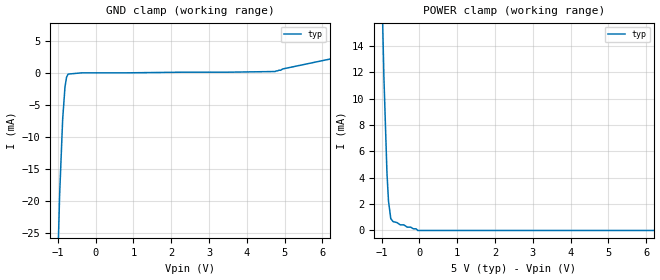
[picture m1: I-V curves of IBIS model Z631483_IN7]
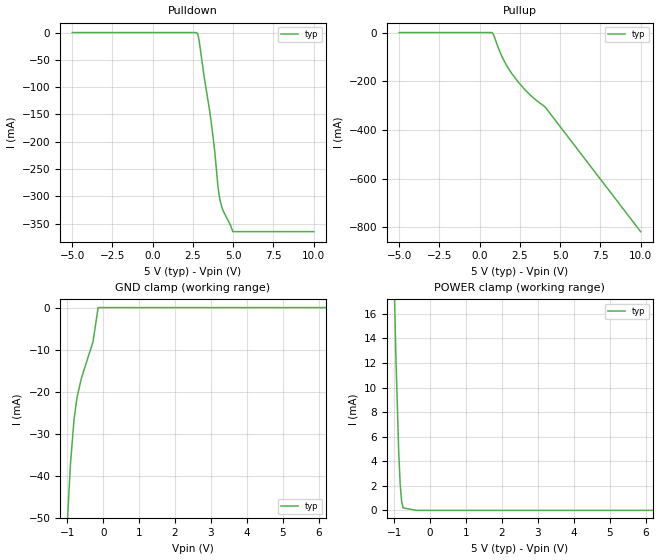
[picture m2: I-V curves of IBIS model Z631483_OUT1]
| YOU ARE ONLY AUTHORIZED TO USE THIS SOFTWARE
| ACCORDING TO LICENSOR'S LICENSE RESTRICTIONS.
[IBIS Ver] 3.1
[File Name] mc10ep89d_50.ibs
[File Rev] 2.0
[Source] Measured and created by ICX Technology
[Date] Wednesday 11/22/00 2:13:51 PM
[Copyright]
| (C) COPYRIGHT 1993-2000
| MENTOR GRAPHICS CORPORATION
| ICX STANDARD LIBRARY, ICX PROJECT MODELING,
| ICX CUSTOM MODELING, ICX VENDOR MODEL
| ALL RIGHTS RESERVED.
| THE FOLLOWING ARE TRADEMARKS OR SERVICE MARKS OF
| MENTOR GRAPHICS CORPORATION:ICX (R), ICX STANDARD
| LIBRARY(R), ICX PROJECT MODELING(R), ICX CUSTOM
| MODELING(R), qualityIBIS(TM), MODELVIEWER(TM),
| AND MODELEDITOR(TM)
| ALL COPIES OF SOFTWARE, INCLUDING BUT NOT LIMITED TO
| ANY MODIFICATIONS, ENHANCEMENTS OR DERIVATIVE WORKS,
| MUST CONTAIN ALL MENTOR GRAPHICS CORPORATION'S
| NOTICES AND LEGENDS, INCLUDING THOSE EMBEDDED IN
| SOFTWARE AND THOSE AFFIXED TO SOFTWARE MEDIUM
| AND CONTAINER, AS RECEIVED FROM MENTOR GRAPHICS
| CORPORATION.
|  ZAP Model Builder 2.8
[Component] MC10EP89D_50
[Manufacturer] OnSemiconductor
[Package]
| variable   typ   min   max
R_pkg  .152ohms NA NA
L_pkg  2.714nH NA NA
C_pkg  .364pF NA NA
[Pin] signal_name  model_name  R_pin  L_pin C_pin
1 Q0 Z631483_OUT1 .154 2.924n .374p
2 _Q0 Z631483_OUT1 .15 2.504n .354p
3 Q1 Z631483_OUT1 .15 2.504n .354p
4 _Q1 Z631483_OUT1 .154 2.924n .374p
5 VEE POWER .154 2.924n .374p
6 _D Z631483_IN7 .15 2.504n .354p
7 D Z631483_IN7 .15 2.504n .354p
8 VCC POWER .154 2.924n .374p
[Diff Pin] inv_pin vdiff tdelay_typ tdelay_min tdelay_max
1 2 NA .005ns NA .02ns
3 4 NA .005ns NA .02ns
7 6 800mv NA NA NA
| Models and submodels in the file (2): Z631483_IN7 (Input_ECL), Z631483_OUT1 (Output_ECL)
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| (C) COPYRIGHT 1993-2000
| MENTOR GRAPHICS CORPORATION
| ICX STANDARD LIBRARY, ICX PROJECT MODELING,
| ICX CUSTOM MODELING, ICX VENDOR MODEL
| ALL RIGHTS RESERVED.
| THE FOLLOWING ARE TRADEMARKS OR SERVICE MARKS OF
| MENTOR GRAPHICS CORPORATION:ICX (R), ICX STANDARD
| LIBRARY(R), ICX PROJECT MODELING(R), ICX CUSTOM
| MODELING(R), qualityIBIS(TM), MODELVIEWER(TM),
| AND MODELEDITOR(TM)
| ALL COPIES OF SOFTWARE, INCLUDING BUT NOT LIMITED TO
| ANY MODIFICATIONS, ENHANCEMENTS OR DERIVATIVE WORKS,
| MUST CONTAIN ALL MENTOR GRAPHICS CORPORATION'S
| NOTICES AND LEGENDS, INCLUDING THOSE EMBEDDED IN
| SOFTWARE AND THOSE AFFIXED TO SOFTWARE MEDIUM
| AND CONTAINER, AS RECEIVED FROM MENTOR GRAPHICS
| CORPORATION.
| Model Application Version 1.89 2/18/99.
[Model] Z631483_IN7
Model_type Input_ECL
Vinl = 3.520V
Vinh = 3.870V
C_comp 3.000pF NA NA
| variable typ   min   max
[Voltage Range] 5.000V NA NA
[GND Clamp Reference] 0.000V NA NA
[POWER Clamp Reference] 5.000V NA NA
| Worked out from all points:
|   GND clamp passes 1 mA (typ) near -0.78 V on its own axis
|   POWER clamp passes 1 mA (typ) near -0.76 V on its own axis
[GND Clamp]
-5V       -1.143A    NA         NA
-1.074V   -45.4mA    NA         NA
-953mV    -19.1mA    NA         NA
-872mV    -7.2mA     NA         NA
-811mV    -2.2mA     NA         NA
-770mV    -700uA     NA         NA
-730mV    -200uA     NA         NA
-365mV    0A         NA         NA
4.743V    200uA      NA         NA
4.895V    400uA      NA         NA
4.946V    600uA      NA         NA
10V       6.84mA     NA         NA
[POWER Clamp]
-5V       657.5mA    NA         NA
-1.061V   27.12mA    NA         NA
-939mV    11.67mA    NA         NA
-858mV    4.374mA    NA         NA
-817mV    2.225mA    NA         NA
-757mV    898.8uA    NA         NA
-696mV    674.1uA    NA         NA
-503mV    424.7uA    NA         NA
-412mV    424.7uA    NA         NA
-87mV     125.9uA    NA         NA
-43.5mV   0A         NA         NA
10V       0A         NA         NA
| (C) COPYRIGHT 1993-2000
| MENTOR GRAPHICS CORPORATION
| ICX STANDARD LIBRARY, ICX PROJECT MODELING,
| ICX CUSTOM MODELING, ICX VENDOR MODEL
| ALL RIGHTS RESERVED.
| THE FOLLOWING ARE TRADEMARKS OR SERVICE MARKS OF
| MENTOR GRAPHICS CORPORATION:ICX (R), ICX STANDARD
| LIBRARY(R), ICX PROJECT MODELING(R), ICX CUSTOM
| MODELING(R), qualityIBIS(TM), MODELVIEWER(TM),
| AND MODELEDITOR(TM)
| ALL COPIES OF SOFTWARE, INCLUDING BUT NOT LIMITED TO
| ANY MODIFICATIONS, ENHANCEMENTS OR DERIVATIVE WORKS,
| MUST CONTAIN ALL MENTOR GRAPHICS CORPORATION'S
| NOTICES AND LEGENDS, INCLUDING THOSE EMBEDDED IN
| SOFTWARE AND THOSE AFFIXED TO SOFTWARE MEDIUM
| AND CONTAINER, AS RECEIVED FROM MENTOR GRAPHICS
| CORPORATION.
| Model Application Version 1.89 2/18/99.
[Model] Z631483_OUT1
Model_type Output_ECL
Vref=2.000V
Rref=50.00ohms
Cref=0.000F
Vmeas=3.105V
C_comp 8.000pF NA NA
| variable typ   min   max
[Voltage Range] 5.000V NA NA
[POWER Clamp Reference] 5.000V NA NA
[Pullup Reference] 5.000V NA NA
[Pulldown Reference] 5.000V NA NA
[GND Clamp Reference] 0.000V NA NA
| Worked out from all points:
|   GND clamp passes 1 mA (typ) near -0.16 V on its own axis
|   POWER clamp passes 1 mA (typ) near -0.80 V on its own axis
[GND Clamp]
-5V       -935.5mA   NA         NA
-1.014V   -53.4mA    NA         NA
-912mV    -37.1mA    NA         NA
-811mV    -26.4mA    NA         NA
-730mV    -21.4mA    NA         NA
-608mV    -16.8mA    NA         NA
-284mV    -8.1mA     NA         NA
-142mV    0A         NA         NA
10V       0A         NA         NA
[Pulldown]
-5V       0A         NA         NA
2.75V     -700uA     NA         NA
2.831V    -6.5mA     NA         NA
2.892V    -17.2mA    NA         NA
3.196V    -81.6mA    NA         NA
3.622V    -161.8mA   NA         NA
3.845V    -215.8mA   NA         NA
4.047V    -280.7mA   NA         NA
4.128V    -298.5mA   NA         NA
4.351V    -325.4mA   NA         NA
4.969V    -364.9mA   NA         NA
10V       -364.9mA   NA         NA
[Pullup]
-5V       0A         NA         NA
688mV     0A         NA         NA
809mV     -2.8mA     NA         NA
910mV     -16.6mA    NA         NA
1.154V    -62mA      NA         NA
1.417V    -103.2mA   NA         NA
1.701V    -138.5mA   NA         NA
2.025V    -171.1mA   NA         NA
2.431V    -205.9mA   NA         NA
3.14V     -256.5mA   NA         NA
4.073V    -306.4mA   NA         NA
10V       -818.2mA   NA         NA
[POWER Clamp]
-5V       656.4mA    NA         NA
-1.056V   25.9mA     NA         NA
-955mV    12.7mA     NA         NA
-874mV    4.7mA      NA         NA
-833mV    2.1mA      NA         NA
-792mV    700uA      NA         NA
-751mV    200uA      NA         NA
-375.5mV  0A         NA         NA
10V       0A         NA         NA
[Ramp]
| variable typ min max
dV/dt_r 1.018/121.9p NA NA
dV/dt_f 1.018/117.9p NA NA
R_load = 50.00Ohms
